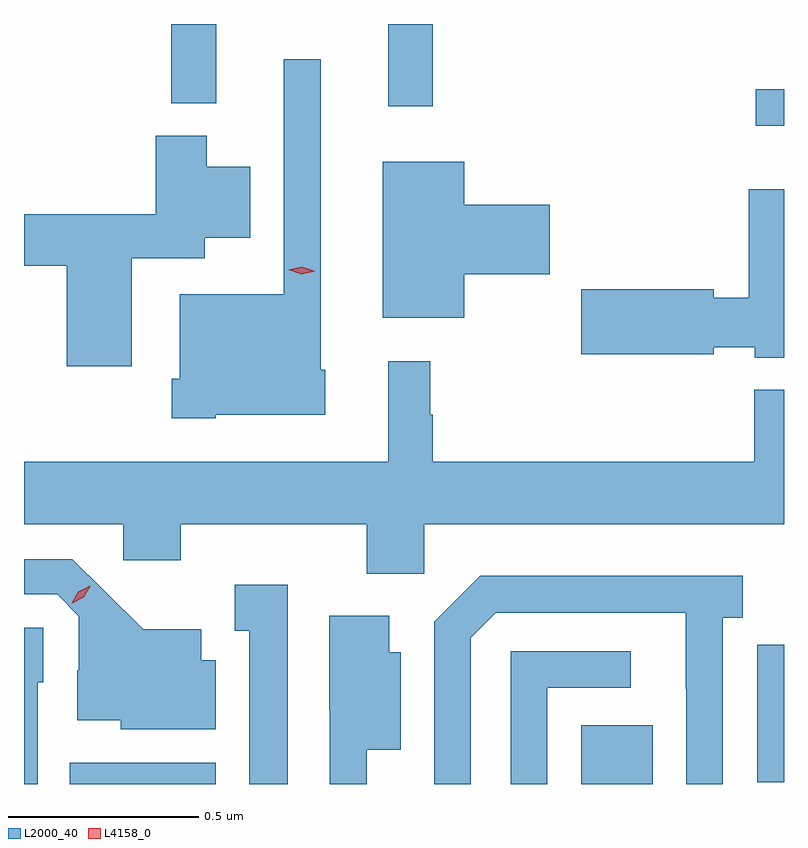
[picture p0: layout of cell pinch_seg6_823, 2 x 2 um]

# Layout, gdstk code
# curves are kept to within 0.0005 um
import gdstk
lib = gdstk.Library(unit=1e-6, precision=1e-09)
def R(c, l, rs):  # rectangles x0, y0, x1, y1
    for r in rs: c.add(gdstk.rectangle(r[:2], r[2:], *l))
def P(c, l, *ps):  # polygons
    for p in ps: c.add(gdstk.Polygon(p, *l))
L2000_40 = (2000, 40)
L4158_0 = (4158, 0)

pinch_seg6_823 = lib.new_cell('pinch_seg6_823')
R(pinch_seg6_823, L2000_40, [(159.568,987.944,159.952,988), (160.913,987.944,161.101,988.099), (161.373,989.676,161.447,989.772), (160.406,989.727,160.523,989.944), (159.835,989.735,159.953,989.944)])
P(pinch_seg6_823, L2000_40, [(159.951,988.916),(160.24,988.916),(160.24,989.034),(160.228,989.034),(160.228,989.851),(160.131,989.851),(160.131,989.233),(159.857,989.233),(159.857,989.011),(159.836,989.011),(159.836,988.907),(159.951,988.907)],
  [(159.73,989.327),(159.922,989.327),(159.922,989.381),(160.042,989.381),(160.042,989.569),(159.928,989.569),(159.928,989.65),(159.794,989.65),(159.794,989.444),(159.447,989.444),(159.447,989.308),(159.56,989.308),(159.56,989.043),(159.73,989.043)],
  [(160.606,989.285),(160.831,989.285),(160.831,989.468),(160.606,989.468),(160.606,989.581),(160.391,989.581),(160.391,989.171),(160.606,989.171)],
  [(161.447,989.509),(161.354,989.509),(161.354,989.223),(161.262,989.223),(161.262,989.246),(160.914,989.246),(160.914,989.075),(161.262,989.075),(161.262,989.093),(161.37,989.093),(161.37,989.066),(161.447,989.066)],
  [(160.5,988.628),(161.447,988.628),(161.447,988.981),(161.369,988.981),(161.369,988.792),(160.523,988.792),(160.523,988.916),(160.516,988.916),(160.516,989.056),(160.406,989.056),(160.406,988.792),(159.447,988.792),(159.447,988.628),(159.708,988.628),(159.708,988.533),(159.86,988.533),(159.86,988.628),(160.349,988.628),(160.349,988.497),(160.5,988.497)],
  [(159.952,988.27),(159.913,988.27),(159.913,988.351),(159.761,988.351),(159.574,988.536),(159.447,988.536),(159.447,988.443),(159.534,988.443),(159.591,988.386),(159.591,988.244),(159.587,988.244),(159.587,988.112),(159.702,988.112),(159.702,988.088),(159.952,988.088)],
  [(160.623,988.329),(160.689,988.395),(161.189,988.395),(161.189,988.195),(161.19,988.195),(161.19,987.944),(161.286,987.944),(161.286,988.382),(161.338,988.382),(161.338,988.492),(160.648,988.492),(160.527,988.371),(160.527,987.944),(160.623,987.944)],
  [(160.141,988.468),(160.001,988.468),(160.001,988.347),(160.04,988.347),(160.04,987.944),(160.141,987.944)],
  [(160.349,988.034),(160.438,988.034),(160.438,988.291),(160.408,988.291),(160.408,988.387),(160.25,988.387),(160.25,988.138),(160.251,988.138),(160.251,987.944),(160.349,987.944)],
  [(159.483,988.212),(159.498,988.212),(159.498,988.355),(159.447,988.355),(159.447,987.944),(159.483,987.944)],
  [(161.447,988.311),(161.377,988.311),(161.377,988.202),(161.376,988.202),(161.376,987.948),(161.447,987.948)],
  [(160.824,988.197),(161.044,988.197),(161.044,988.293),(160.728,988.293),(160.728,987.944),(160.824,987.944)])
P(pinch_seg6_823, L4158_0, [(160.177,989.286),(160.142,989.297),(160.141,989.297),(160.142,989.297),(160.178,989.305),(160.213,989.294),(160.213,989.294),(160.213,989.294)],
  [(159.573,988.42),(159.573,988.42),(159.59,988.45),(159.621,988.466),(159.621,988.466),(159.621,988.465),(159.604,988.435),(159.574,988.42)])

lib.write_gds('pinch_seg6_823.gds')
